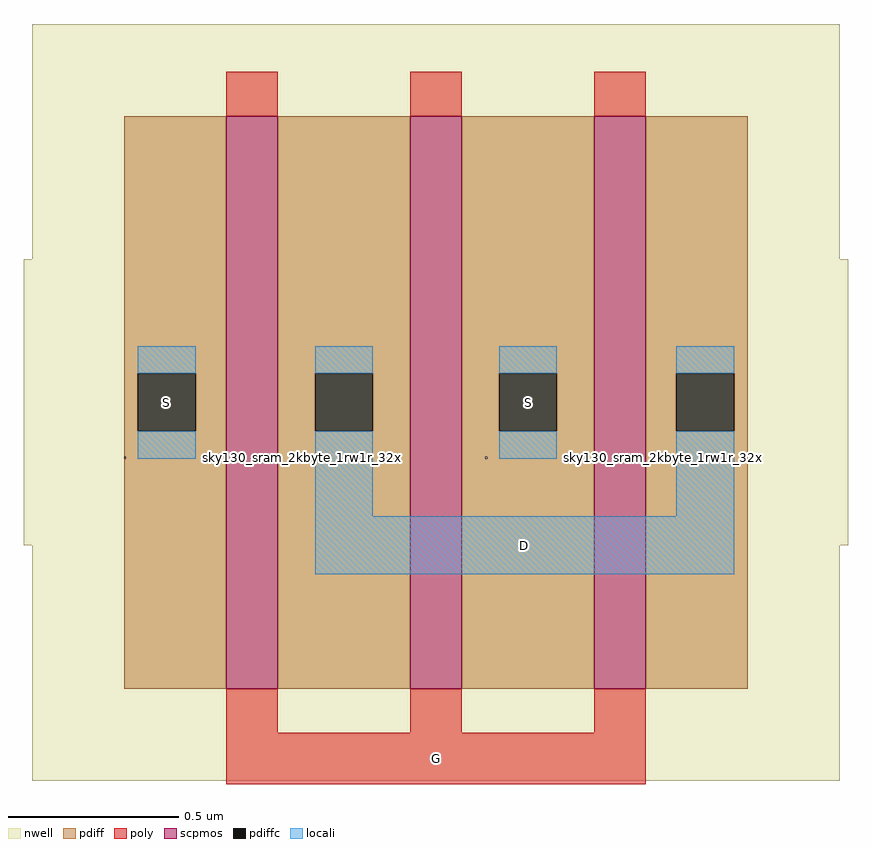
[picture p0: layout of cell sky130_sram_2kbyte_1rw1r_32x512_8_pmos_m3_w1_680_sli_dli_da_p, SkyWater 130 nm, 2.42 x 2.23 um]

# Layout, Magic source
magic
tech sky130A
magscale 1 2
<< nwell >>
rect -54 252 420 390
rect -59 84 425 252
rect -54 -54 420 84
<< scpmos >>
rect 60 0 90 336
rect 168 0 198 336
rect 276 0 306 336
<< pdiff >>
rect 0 185 60 336
rect 0 151 8 185
rect 42 151 60 185
rect 0 0 60 151
rect 90 185 168 336
rect 90 151 112 185
rect 146 151 168 185
rect 90 0 168 151
rect 198 185 276 336
rect 198 151 220 185
rect 254 151 276 185
rect 198 0 276 151
rect 306 185 366 336
rect 306 151 324 185
rect 358 151 366 185
rect 306 0 366 151
<< pdiffc >>
rect 8 151 42 185
rect 112 151 146 185
rect 220 151 254 185
rect 324 151 358 185
<< poly >>
rect 60 336 90 362
rect 168 336 198 362
rect 276 336 306 362
rect 60 -26 90 0
rect 168 -26 198 0
rect 276 -26 306 0
rect 60 -56 306 -26
<< locali >>
rect 8 185 42 201
rect 8 135 42 151
rect 112 185 146 201
rect 112 101 146 151
rect 220 185 254 201
rect 220 135 254 151
rect 324 185 358 201
rect 324 101 358 151
rect 112 67 358 101
use sky130_sram_2kbyte_1rw1r_32x512_8_contact_12  sky130_sram_2kbyte_1rw1r_32x512_8_contact_12_0
transform 1 0 316 0 1 135
box 0 0 1 1
use sky130_sram_2kbyte_1rw1r_32x512_8_contact_12  sky130_sram_2kbyte_1rw1r_32x512_8_contact_12_1
transform 1 0 212 0 1 135
box 0 0 1 1
use sky130_sram_2kbyte_1rw1r_32x512_8_contact_12  sky130_sram_2kbyte_1rw1r_32x512_8_contact_12_2
transform 1 0 104 0 1 135
box 0 0 1 1
use sky130_sram_2kbyte_1rw1r_32x512_8_contact_12  sky130_sram_2kbyte_1rw1r_32x512_8_contact_12_3
transform 1 0 0 0 1 135
box 0 0 1 1
<< labels >>
rlabel locali s 237 168 237 168 4 S
port 1 nsew
rlabel locali s 25 168 25 168 4 S
port 1 nsew
rlabel locali s 235 84 235 84 4 D
port 2 nsew
rlabel poly s 183 -41 183 -41 4 G
port 3 nsew
<< properties >>
string FIXED_BBOX -54 -56 420 84
string GDS_FILE $PDKPATH/libs.ref/sky130_sram_macros/gds/sky130_sram_2kbyte_1rw1r_32x512_8.gds
string GDS_END 54716
string GDS_START 53344
<< end >>
